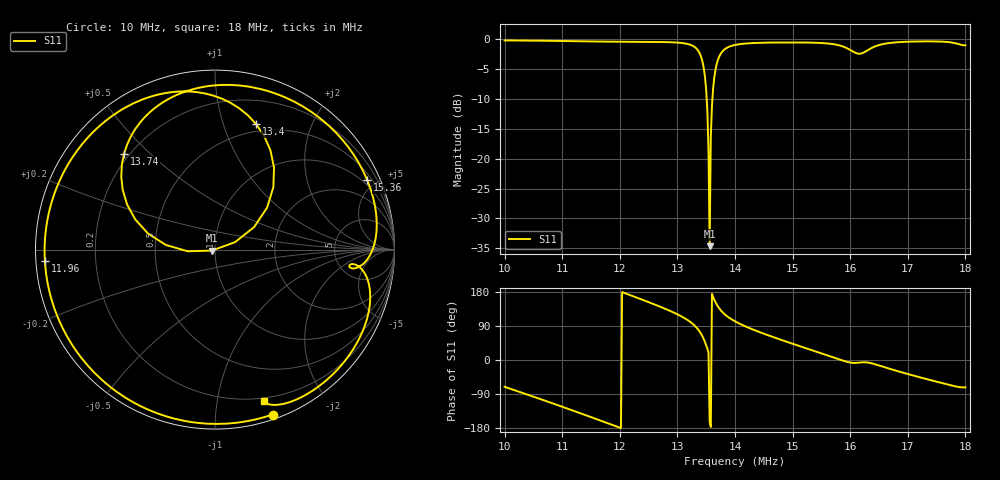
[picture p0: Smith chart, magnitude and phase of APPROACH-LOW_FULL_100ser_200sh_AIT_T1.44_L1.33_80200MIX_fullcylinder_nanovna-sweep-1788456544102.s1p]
! NanoVNA Web complex sweep
! Processing: original sample grid, no browser smoothing
# Hz S RI R 50
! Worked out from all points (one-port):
!   401 points, 10 MHz to 18 MHz, reference 50 ohm
!   lowest |S11| = -34.6 dB at 13.56 MHz (marker M1), VSWR 1.04, Z = 48.3 - j0.525 ohm
!   |S11| at or under -10 dB: 13.51 MHz to 13.61 MHz (99.94 kHz wide, 0.737 % of centre)
!   S11 on the Smith chart (normalised r, x): 10 MHz: 0.04, -1.41; 11.96 MHz: 0.03, -0.03; 13.4 MHz: 0.42, +1.29; 13.74 MHz: 0.18, +0.42; 15.36 MHz: 0.76, +4.47; 18 MHz: 0.17, -1.36
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1e7  0.3212 -0.9188
1.05e7  -0.1127 -0.9634
1.1e7  -0.5296 -0.8046
1.15e7  -0.833 -0.4675
1.196e7  -0.9478 -0.0608
1.2e7  -0.9494 -0.0234
1.252e7  -0.8322 0.4511
1.3e7  -0.4746 0.8047
1.326e7  -0.0938 0.8763
1.34e7  0.23 0.6985
1.348e7  0.3252 0.3478
1.35e7  0.29 0.2333
1.352e7  0.2181 0.1257
1.356e7  -0.0177 -0.00544
1.36e7  -0.2746 0.0262
1.362e7  -0.3732 0.0895
1.364e7  -0.4443 0.1681
1.374e7  -0.5069 0.5339
1.4e7  -0.1871 0.8727
1.444e7  0.275 0.8888
1.5e7  0.6874 0.6368
1.536e7  0.8479 0.3873
1.572e7  0.8994 0.0959
1.6e7  0.805 -0.0929
1.634e7  0.8184 -0.1104
1.7e7  0.7585 -0.5726
1.76e7  0.46 -0.8323
1.8e7  0.2705 -0.8456
